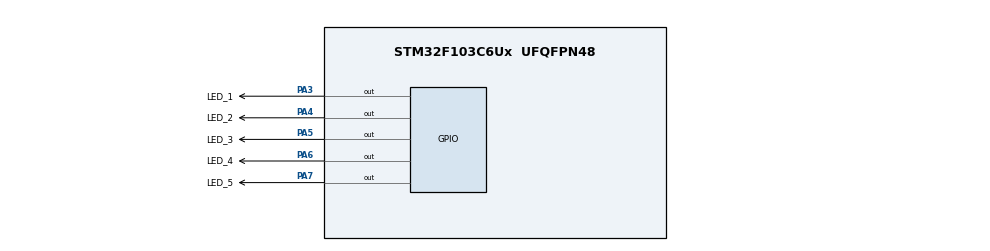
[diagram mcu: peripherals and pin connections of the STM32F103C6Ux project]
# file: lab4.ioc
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Mcu.Family=STM32F1
Mcu.Name=STM32F103C6Ux
Mcu.Package=UFQFPN48
NVIC.PriorityGroup=NVIC_PRIORITYGROUP_4
NVIC.TIM2_IRQn=true\:0\:0\:false\:false\:true\:true\:true
PA3.GPIO_Label=LED_1
PA3.Signal=GPIO_Output
PA4.GPIO_Label=LED_2
PA4.Signal=GPIO_Output
PA5.GPIO_Label=LED_3
PA5.Signal=GPIO_Output
PA6.GPIO_Label=LED_4
PA6.Signal=GPIO_Output
PA7.GPIO_Label=LED_5
PA7.Signal=GPIO_Output
ProjectManager.HeapSize=0x200
ProjectManager.StackSize=0x400
ProjectManager.TargetToolchain=STM32CubeIDE
RCC.APB1Freq_Value=8000000
RCC.APB2Freq_Value=8000000
TIM2.Period=9
TIM2.Prescaler=7999
VP_SYS_VS_ND.Mode=No_Debug
VP_TIM2_VS_OPM.Mode=OPM_bit
board=custom

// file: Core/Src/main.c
/* USER CODE BEGIN Header */
/**
  ******************************************************************************
  * @file           : main.c
  * @brief          : Main program body
  ******************************************************************************
  * @attention
  *
  * <h2><center>&copy; Copyright (c) 2023 STMicroelectronics.
  * All rights reserved.</center></h2>
  *
  * This software component is licensed by ST under BSD 3-Clause license,
  * the "License"; You may not use this file except in compliance with the
  * License. You may obtain a copy of the License at:
  *                        opensource.org/licenses/BSD-3-Clause
  *
  ******************************************************************************
  */
/* USER CODE END Header */
#include "main.h"
#include "scheduler.h"

TIM_HandleTypeDef htim2;

void SystemClock_Config(void);
static void MX_GPIO_Init(void);
static void MX_TIM2_Init(void);

/* USER CODE BEGIN 0 */
void LED1()
{
	HAL_GPIO_TogglePin(LED_1_GPIO_Port, LED_1_Pin);
}
void LED2()
{
	HAL_GPIO_TogglePin(LED_2_GPIO_Port, LED_2_Pin);
}
void LED3()
{
	HAL_GPIO_TogglePin(LED_3_GPIO_Port, LED_3_Pin);
}
void LED4()
{
	HAL_GPIO_TogglePin(LED_4_GPIO_Port, LED_4_Pin);
}
void LED5()
{
	HAL_GPIO_TogglePin(LED_5_GPIO_Port, LED_5_Pin);
}
/* USER CODE END 0 */

int main(void)
{

  /* MCU Configuration--------------------------------------------------------*/

  /* Reset of all peripherals, Initializes the Flash interface and the Systick. */
  HAL_Init();

  /* USER CODE BEGIN Init */
  HAL_TIM_Base_Start_IT(&htim2);
  /* USER CODE END Init */

  /* Configure the system clock */
  SystemClock_Config();

  /* Initialize all configured peripherals */
  MX_GPIO_Init();
  MX_TIM2_Init();
  /* USER CODE BEGIN 2 */

  SCH_Init();
  SCH_Add_Task(LED1, 10, 500);
  SCH_Add_Task(LED2, 20, 1000);
  SCH_Add_Task(LED3, 30, 1500);
  SCH_Add_Task(LED4, 40, 2000);
  SCH_Add_Task(LED5, 50, 2500);
  /* USER CODE END 2 */

  /* Infinite loop */
  /* USER CODE BEGIN WHILE */
  while (1)
  {
	 SCH_Dispatch_Tasks();
    /* USER CODE END WHILE */

  }
}

void SystemClock_Config(void)
{
  RCC_OscInitTypeDef RCC_OscInitStruct = {0};
  RCC_ClkInitTypeDef RCC_ClkInitStruct = {0};

  /** Initializes the RCC Oscillators according to the specified parameters
  * in the RCC_OscInitTypeDef structure.
  */
  RCC_OscInitStruct.OscillatorType = RCC_OSCILLATORTYPE_HSI;
  RCC_OscInitStruct.HSIState = RCC_HSI_ON;
  RCC_OscInitStruct.HSICalibrationValue = RCC_HSICALIBRATION_DEFAULT;
  RCC_OscInitStruct.PLL.PLLState = RCC_PLL_NONE;
  if (HAL_RCC_OscConfig(&RCC_OscInitStruct) != HAL_OK)
  {
    Error_Handler();
  }
  /** Initializes the CPU, AHB and APB buses clocks
  */
  RCC_ClkInitStruct.ClockType = RCC_CLOCKTYPE_HCLK|RCC_CLOCKTYPE_SYSCLK
                              |RCC_CLOCKTYPE_PCLK1|RCC_CLOCKTYPE_PCLK2;
  RCC_ClkInitStruct.SYSCLKSource = RCC_SYSCLKSOURCE_HSI;
  RCC_ClkInitStruct.AHBCLKDivider = RCC_SYSCLK_DIV1;
  RCC_ClkInitStruct.APB1CLKDivider = RCC_HCLK_DIV1;
  RCC_ClkInitStruct.APB2CLKDivider = RCC_HCLK_DIV1;

  if (HAL_RCC_ClockConfig(&RCC_ClkInitStruct, FLASH_LATENCY_0) != HAL_OK)
  {
    Error_Handler();
  }
}

static void MX_TIM2_Init(void)
{

  TIM_MasterConfigTypeDef sMasterConfig = {0};

  htim2.Instance = TIM2;
  htim2.Init.Prescaler = 7999;
  htim2.Init.CounterMode = TIM_COUNTERMODE_UP;
  htim2.Init.Period = 9;
  htim2.Init.ClockDivision = TIM_CLOCKDIVISION_DIV1;
  htim2.Init.AutoReloadPreload = TIM_AUTORELOAD_PRELOAD_DISABLE;
  if (HAL_TIM_OnePulse_Init(&htim2, TIM_OPMODE_SINGLE) != HAL_OK)
  {
    Error_Handler();
  }
  sMasterConfig.MasterOutputTrigger = TIM_TRGO_RESET;
  sMasterConfig.MasterSlaveMode = TIM_MASTERSLAVEMODE_DISABLE;
  if (HAL_TIMEx_MasterConfigSynchronization(&htim2, &sMasterConfig) != HAL_OK)
  {
    Error_Handler();
  }

}

static void MX_GPIO_Init(void)
{
  GPIO_InitTypeDef GPIO_InitStruct = {0};

  /* GPIO Ports Clock Enable */
  __HAL_RCC_GPIOA_CLK_ENABLE();

  /*Configure GPIO pin Output Level */
  HAL_GPIO_WritePin(GPIOA, LED_1_Pin|LED_2_Pin|LED_3_Pin|LED_4_Pin
                          |LED_5_Pin, GPIO_PIN_RESET);

  /*Configure GPIO pins : LED_1_Pin LED_2_Pin LED_3_Pin LED_4_Pin
                           LED_5_Pin */
  GPIO_InitStruct.Pin = LED_1_Pin|LED_2_Pin|LED_3_Pin|LED_4_Pin
                          |LED_5_Pin;
  GPIO_InitStruct.Mode = GPIO_MODE_OUTPUT_PP;
  GPIO_InitStruct.Pull = GPIO_NOPULL;
  GPIO_InitStruct.Speed = GPIO_SPEED_FREQ_LOW;
  HAL_GPIO_Init(GPIOA, &GPIO_InitStruct);

}

/* USER CODE BEGIN 4 */
void HAL_TIM_PeriodElapsedCallback(TIM_HandleTypeDef *htim) {
	SCH_Update();

}
/* USER CODE END 4 */

void Error_Handler(void)
{
  __disable_irq();
  while (1)
  {
  }
}

/************************ (C) COPYRIGHT STMicroelectronics *****END OF FILE****/
